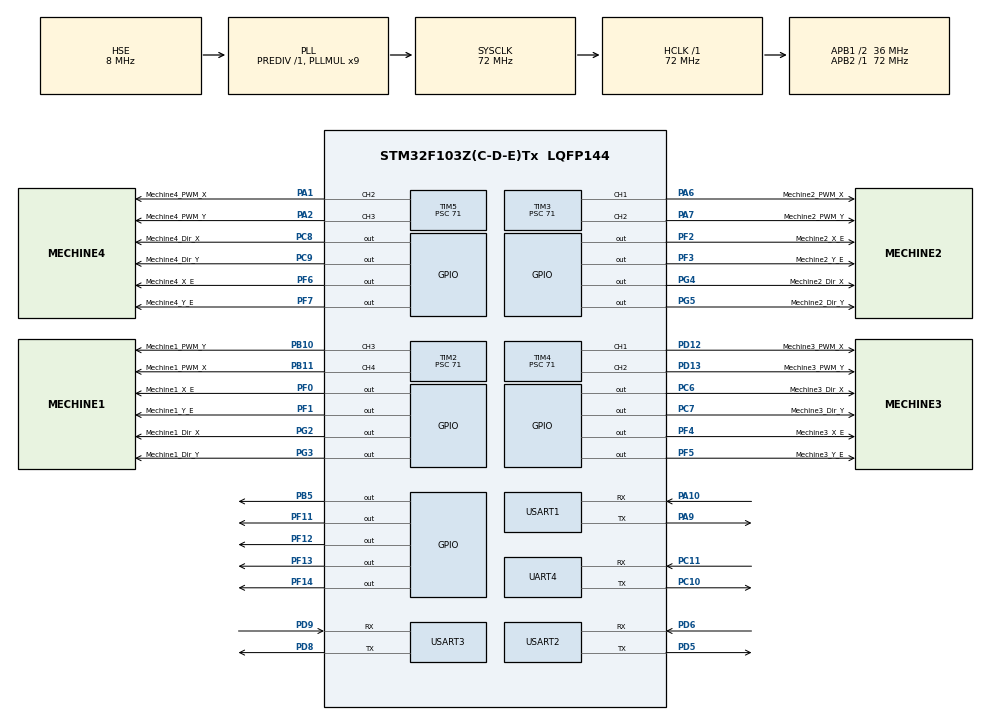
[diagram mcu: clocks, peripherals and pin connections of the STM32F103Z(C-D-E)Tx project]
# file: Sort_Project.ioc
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Mcu.Family=STM32F1
Mcu.Name=STM32F103Z(C-D-E)Tx
Mcu.Package=LQFP144
NVIC.PriorityGroup=NVIC_PRIORITYGROUP_4
NVIC.TIM2_IRQn=true\:0\:0\:false\:false\:true\:true\:true\:true
NVIC.TIM3_IRQn=true\:0\:0\:false\:false\:true\:true\:true\:true
NVIC.TIM4_IRQn=true\:0\:0\:false\:false\:true\:true\:true\:true
NVIC.TIM5_IRQn=true\:0\:0\:false\:false\:true\:true\:true\:true
NVIC.USART1_IRQn=true\:0\:0\:false\:false\:true\:true\:true\:true
NVIC.USART3_IRQn=true\:0\:0\:false\:false\:true\:true\:true\:true
OSC_IN.Mode=HSE-External-Oscillator
OSC_IN.Signal=RCC_OSC_IN
OSC_OUT.Mode=HSE-External-Oscillator
OSC_OUT.Signal=RCC_OSC_OUT
PA1.GPIO_Label=Mechine4_PWM_X
PA1.Signal=S_TIM5_CH2
PA10.Mode=Asynchronous
PA10.Signal=USART1_RX
PA13.Mode=Serial_Wire
PA13.Signal=SYS_JTMS-SWDIO
PA14.Mode=Serial_Wire
PA14.Signal=SYS_JTCK-SWCLK
PA2.GPIO_Label=Mechine4_PWM_Y
PA2.Signal=S_TIM5_CH3
PA6.GPIO_Label=Mechine2_PWM_X
PA6.Signal=S_TIM3_CH1
PA7.GPIO_Label=Mechine2_PWM_Y
PA7.Signal=S_TIM3_CH2
PA9.Mode=Asynchronous
PA9.Signal=USART1_TX
PB10.GPIO_Label=Mechine1_PWM_Y
PB10.Signal=S_TIM2_CH3
PB11.GPIO_Label=Mechine1_PWM_X
PB11.Signal=S_TIM2_CH4
PB5.Signal=GPIO_Output
PC10.Mode=Asynchronous
PC10.Signal=UART4_TX
PC11.Mode=Asynchronous
PC11.Signal=UART4_RX
PC13-TAMPER-RTC.Signal=RTC_TAMPER
PC14-OSC32_IN.Signal=RCC_OSC32_IN
PC15-OSC32_OUT.Signal=RCC_OSC32_OUT
PC6.GPIO_Label=Mechine3_Dir_X
PC6.Signal=GPIO_Output
PC7.GPIO_Label=Mechine3_Dir_Y
PC7.Signal=GPIO_Output
PC8.GPIO_Label=Mechine4_Dir_X
PC8.GPIO_PuPd=GPIO_NOPULL
PC8.Signal=GPIO_Output
PC9.GPIO_Label=Mechine4_Dir_Y
PC9.Signal=GPIO_Output
PD12.GPIO_Label=Mechine3_PWM_X
PD12.Signal=S_TIM4_CH1
PD13.GPIO_Label=Mechine3_PWM_Y
PD13.Signal=S_TIM4_CH2
PD5.Mode=Asynchronous
PD5.Signal=USART2_TX
PD6.Mode=Asynchronous
PD6.Signal=USART2_RX
PD8.Mode=Asynchronous
PD8.Signal=USART3_TX
PD9.Mode=Asynchronous
PD9.Signal=USART3_RX
PF0.GPIO_Label=Mechine1_X_E
PF0.Signal=GPIO_Output
PF1.GPIO_Label=Mechine1_Y_E
PF1.Signal=GPIO_Output
PF11.Signal=GPIO_Output
PF12.Signal=GPIO_Output
PF13.Signal=GPIO_Output
PF14.Signal=GPIO_Output
PF2.GPIO_Label=Mechine2_X_E
PF2.Signal=GPIO_Output
PF3.GPIO_Label=Mechine2_Y_E
PF3.Signal=GPIO_Output
PF4.GPIO_Label=Mechine3_X_E
PF4.Signal=GPIO_Output
PF5.GPIO_Label=Mechine3_Y_E
PF5.Signal=GPIO_Output
PF6.GPIO_Label=Mechine4_X_E
PF6.Signal=GPIO_Output
PF7.GPIO_Label=Mechine4_Y_E
PF7.Signal=GPIO_Output
PG2.GPIO_Label=Mechine1_Dir_X
PG2.Signal=GPIO_Output
PG3.GPIO_Label=Mechine1_Dir_Y
PG3.Signal=GPIO_Output
PG4.GPIO_Label=Mechine2_Dir_X
PG4.Signal=GPIO_Output
PG5.GPIO_Label=Mechine2_Dir_Y
PG5.Signal=GPIO_Output
ProjectManager.HeapSize=0x200
ProjectManager.StackSize=0x400
ProjectManager.TargetToolchain=Makefile
RCC.AHBFreq_Value=72000000
RCC.APB1CLKDivider=RCC_HCLK_DIV2
RCC.APB1Freq_Value=36000000
RCC.APB1TimFreq_Value=72000000
RCC.APB2Freq_Value=72000000
RCC.APB2TimFreq_Value=72000000
RCC.HCLKFreq_Value=72000000
RCC.PLLMUL=RCC_PLL_MUL9
RCC.PLLSourceVirtual=RCC_PLLSOURCE_HSE
RCC.SYSCLKFreq_VALUE=72000000
RCC.SYSCLKSource=RCC_SYSCLKSOURCE_PLLCLK
RCC.USBFreq_Value=72000000
SH.S_TIM2_CH3.0=TIM2_CH3,PWM Generation3 CH3
SH.S_TIM2_CH4.0=TIM2_CH4,PWM Generation4 CH4
SH.S_TIM3_CH1.0=TIM3_CH1,PWM Generation1 CH1
SH.S_TIM3_CH2.0=TIM3_CH2,PWM Generation2 CH2
SH.S_TIM4_CH1.0=TIM4_CH1,PWM Generation1 CH1
SH.S_TIM4_CH2.0=TIM4_CH2,PWM Generation2 CH2
SH.S_TIM5_CH2.0=TIM5_CH2,PWM Generation2 CH2
SH.S_TIM5_CH3.0=TIM5_CH3,PWM Generation3 CH3
TIM2.Channel-PWM\ Generation3\ CH3=TIM_CHANNEL_3
TIM2.Channel-PWM\ Generation4\ CH4=TIM_CHANNEL_4
TIM2.Period=499
TIM2.Prescaler=71
TIM2.Pulse-PWM\ Generation3\ CH3=250
TIM2.Pulse-PWM\ Generation4\ CH4=250
TIM3.Channel-PWM\ Generation1\ CH1=TIM_CHANNEL_1
TIM3.Channel-PWM\ Generation2\ CH2=TIM_CHANNEL_2
TIM3.Period=499
TIM3.Prescaler=71
TIM3.Pulse-PWM\ Generation1\ CH1=250
TIM3.Pulse-PWM\ Generation2\ CH2=250
TIM4.Channel-PWM\ Generation1\ CH1=TIM_CHANNEL_1
TIM4.Channel-PWM\ Generation2\ CH2=TIM_CHANNEL_2
TIM4.Period=499
TIM4.Prescaler=71
TIM4.Pulse-PWM\ Generation1\ CH1=250
TIM4.Pulse-PWM\ Generation2\ CH2=250
TIM5.Channel-PWM\ Generation2\ CH2=TIM_CHANNEL_2
TIM5.Channel-PWM\ Generation3\ CH3=TIM_CHANNEL_3
TIM5.Period=499
TIM5.Prescaler=71
TIM5.Pulse-PWM\ Generation2\ CH2=250
TIM5.Pulse-PWM\ Generation3\ CH3=250
UART4.VirtualMode=Asynchronous
USART1.VirtualMode=VM_ASYNC
USART2.VirtualMode=VM_ASYNC
USART3.VirtualMode=VM_ASYNC
VP_TIM2_VS_ClockSourceINT.Mode=Internal
VP_TIM3_VS_ClockSourceINT.Mode=Internal
VP_TIM4_VS_ClockSourceINT.Mode=Internal
VP_TIM5_VS_ClockSourceINT.Mode=Internal
board=custom

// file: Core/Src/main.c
/* USER CODE BEGIN Header */
/**
  ******************************************************************************
  * @file           : main.c
  * @brief          : Main program body
  ******************************************************************************
  * @attention
  *
  * Copyright (c) 2023 STMicroelectronics.
  * All rights reserved.
  *
  * This software is licensed under terms that can be found in the LICENSE file
  * in the root directory of this software component.
  * If no LICENSE file comes with this software, it is provided AS-IS.
  *
  ******************************************************************************
  */
/* USER CODE END Header */
#include "main.h"
#include "tim.h"
#include "usart.h"
#include "gpio.h"

/* USER CODE BEGIN Includes */
#include "stdio.h"
#include "stdlib.h"
/* USER CODE END Includes */

/* USER CODE BEGIN PV */
typedef struct Step_Config
{
  //uint16_t Shippingspace;//仓位
  //uint16_t Shippingspace;//哪一个步进电机
  uint32_t X_PWM_Count;
  uint32_t Y_PWM_Count;
  uint32_t Now_PositionX;
  uint32_t Now_PositionY;
  uint32_t Last_PositionX;
  uint32_t Last_PositionY;
  int deltaPositionx;
  int deltaPositiony;
  int PWM_X_DirFlag;//电机正反
  int PWM_Y_DirFlag;
}Step_Config1;
Step_Config1 space1;
Step_Config1 space2;
Step_Config1 space3;
Step_Config1 space4;
/*Recive 前三个字符是机器序列号小仓位,后三位是X坐标然后是Y坐标,最后一个字符验证接受结束*/
uint8_t RxBuffer[3];

int Shippingspace;
int FineFraction = 32;
//细分数 步进电机驱动设置
/*PWM_Start_flag[0]每一个大仓位中的四个仓位的哪一个*/
/*PWM_Start_flag[1]抓药启动标志*/
uint8_t PWM_Start_flag[2];
int CircleCount1X_Count = 0;//步进电机转的圈数
int CircleCount1Y_Count = 0;
int CircleCount2X_Count = 0;//步进电机转的圈数
int CircleCount2Y_Count = 0;
int CircleCount3X_Count = 0;//步进电机转的圈数
int CircleCount3Y_Count = 0;
int CircleCount4X_Count = 0;//步进电机转的圈数
int CircleCount4Y_Count = 0;
int X1_Flag = 0;
int Y1_Flag = 0;
int X2_Flag = 0;
int Y2_Flag = 0;
int X3_Flag = 0;
int Y3_Flag = 0;
int X4_Flag = 0;
int Y4_Flag = 0;
char Error[] ="Messageerror";
/* USER CODE END PV */

void SystemClock_Config(void);

int main(void)
{

  /* MCU Configuration--------------------------------------------------------*/

  /* Reset of all peripherals, Initializes the Flash interface and the Systick. */
  HAL_Init();

  /* Configure the system clock */
  SystemClock_Config();

  /* Initialize all configured peripherals */
  MX_GPIO_Init();
  MX_TIM3_Init();
  MX_TIM4_Init();
  MX_TIM5_Init();
  MX_USART3_UART_Init();
  MX_USART1_UART_Init();
  MX_TIM2_Init();
  MX_UART4_Init();
  MX_USART2_UART_Init();
  /* USER CODE BEGIN 2 */
  space1.PWM_X_DirFlag = 0;
  space1.PWM_Y_DirFlag = 0;
  space1.Last_PositionX=0;
  space1.Last_PositionY=0;
  space1.Now_PositionX = 0;
  space1.Now_PositionY = 0;
  space1.deltaPositionx = 0;
  space1.deltaPositiony = 0;
  space1.X_PWM_Count = 0;
  space1.Y_PWM_Count = 0;

  space2.Last_PositionX=0;
  space2.Last_PositionY=0;
  space2.PWM_X_DirFlag = 0;
  space2.PWM_Y_DirFlag = 0;
  space2.deltaPositionx = 0;
  space2.deltaPositiony = 0;
  space2.X_PWM_Count = 0;
  space2.Y_PWM_Count = 0;

  space3.Last_PositionX=0;
  space3.Last_PositionY=0;
  space3.PWM_X_DirFlag = 0;
  space3.PWM_Y_DirFlag = 0;
  space3.deltaPositionx = 0;
  space3.deltaPositiony = 0;
  space3.X_PWM_Count = 0;
  space3.Y_PWM_Count = 0;

  space4.Last_PositionX=0;
  space4.Last_PositionY=0;
  space4.PWM_X_DirFlag = 0;
  space4.PWM_Y_DirFlag = 0;
  space4.deltaPositionx = 0;
  space4.deltaPositiony = 0;
  space4.X_PWM_Count = 0;
  space4.Y_PWM_Count = 0;
  /* USER CODE END 2 */

  /* Infinite loop */
  while (1)
  {

    /* USER CODE BEGIN 3 */
    HAL_UART_Receive_IT(&huart3,RxBuffer,3);
    HAL_UART_Receive_IT(&huart1,PWM_Start_flag,2);
  }
  return 0;
  /* USER CODE END 3 */
}

void SystemClock_Config(void)
{
  RCC_OscInitTypeDef RCC_OscInitStruct = {0};
  RCC_ClkInitTypeDef RCC_ClkInitStruct = {0};

  /** Initializes the RCC Oscillators according to the specified parameters
  * in the RCC_OscInitTypeDef structure.
  */
  RCC_OscInitStruct.OscillatorType = RCC_OSCILLATORTYPE_HSE;
  RCC_OscInitStruct.HSEState = RCC_HSE_ON;
  RCC_OscInitStruct.HSEPredivValue = RCC_HSE_PREDIV_DIV1;
  RCC_OscInitStruct.HSIState = RCC_HSI_ON;
  RCC_OscInitStruct.PLL.PLLState = RCC_PLL_ON;
  RCC_OscInitStruct.PLL.PLLSource = RCC_PLLSOURCE_HSE;
  RCC_OscInitStruct.PLL.PLLMUL = RCC_PLL_MUL9;
  if (HAL_RCC_OscConfig(&RCC_OscInitStruct) != HAL_OK)
  {
    Error_Handler();
  }

  /** Initializes the CPU, AHB and APB buses clocks
  */
  RCC_ClkInitStruct.ClockType = RCC_CLOCKTYPE_HCLK|RCC_CLOCKTYPE_SYSCLK
                              |RCC_CLOCKTYPE_PCLK1|RCC_CLOCKTYPE_PCLK2;
  RCC_ClkInitStruct.SYSCLKSource = RCC_SYSCLKSOURCE_PLLCLK;
  RCC_ClkInitStruct.AHBCLKDivider = RCC_SYSCLK_DIV1;
  RCC_ClkInitStruct.APB1CLKDivider = RCC_HCLK_DIV2;
  RCC_ClkInitStruct.APB2CLKDivider = RCC_HCLK_DIV1;

  if (HAL_RCC_ClockConfig(&RCC_ClkInitStruct, FLASH_LATENCY_2) != HAL_OK)
  {
    Error_Handler();
  }
}

/* USER CODE BEGIN 4 */
void HAL_UART_RxCpltCallback(UART_HandleTypeDef *huart){
  uint16_t Now_PositonX=0;
  uint16_t Now_PositonY=0;
  /*接受香橙派开发板的位置信息
  * Shippingspace 四个仓位的那一个
  */
  if (huart==&huart3)
  {
    Shippingspace = RxBuffer[0];
    Now_PositonX = RxBuffer[1];
    Now_PositonY = RxBuffer[2];
    if (Now_PositonX>500)
    {
      Now_PositonX =500;
    }
    if (Now_PositonX<0)
    {
      Now_PositonX = 0;
    }
    if (Now_PositonY>500)
    {
      Now_PositonY =500;
    }
    if (Now_PositonY<0)
    {
      Now_PositonY = 0;
    }
    switch (Shippingspace)
    {
    case 1:
      space1.Now_PositionX = Now_PositonX;
      space1.Now_PositionY = Now_PositonY;
      space1.deltaPositionx = space1.Now_PositionX - space1.Last_PositionX;
      space1.deltaPositiony = space1.Now_PositionY - space1.Last_PositionY;
      if (space1.deltaPositionx > 0 )
      {
        space1.PWM_X_DirFlag = 1;
        HAL_GPIO_WritePin(Mechine1_Dir_X_GPIO_Port,Mechine1_Dir_X_Pin,GPIO_PIN_SET);
      }
      else
      {
        space1.PWM_X_DirFlag = 0;
        HAL_GPIO_WritePin(Mechine1_Dir_X_GPIO_Port,Mechine1_Dir_X_Pin,GPIO_PIN_RESET);
      }
      if (space1.deltaPositiony > 0 )
      {
        space1.PWM_Y_DirFlag = 1;
        HAL_GPIO_WritePin(Mechine1_Dir_Y_GPIO_Port,Mechine1_Dir_Y_Pin,GPIO_PIN_SET);
      }
      else
      {
        space1.PWM_Y_DirFlag = 0;
        HAL_GPIO_WritePin(Mechine1_Dir_Y_GPIO_Port,Mechine1_Dir_Y_Pin,GPIO_PIN_RESET);
      }
      break;
    case 2:
      space2.Now_PositionX = Now_PositonX;
      space2.Now_PositionY = Now_PositonY;
      space2.deltaPositionx = space2.Now_PositionX - space2.Last_PositionX;
      space2.deltaPositiony = space2.Now_PositionY - space2.Last_PositionY;
      if (space2.deltaPositionx > 0 )
      {
        space2.PWM_X_DirFlag = 1;
        HAL_GPIO_WritePin(Mechine2_Dir_X_GPIO_Port,Mechine2_Dir_X_Pin,GPIO_PIN_SET);
      }
      else
      {
        space2.PWM_X_DirFlag = 0;
        HAL_GPIO_WritePin(Mechine2_Dir_X_GPIO_Port,Mechine2_Dir_X_Pin,GPIO_PIN_RESET);
      }
      if (space2.deltaPositiony > 0 )
      {
        space2.PWM_Y_DirFlag = 1;
        HAL_GPIO_WritePin(Mechine2_Dir_Y_GPIO_Port,Mechine2_Dir_Y_Pin,GPIO_PIN_SET);
      }
      else
      {
        space2.PWM_Y_DirFlag = 0;
        HAL_GPIO_WritePin(Mechine2_Dir_Y_GPIO_Port,Mechine2_Dir_Y_Pin,GPIO_PIN_RESET);
      }
      break;
    case 3:
      space3.Now_PositionX = Now_PositonX;
      space3.Now_PositionY = Now_PositonY;
      space3.deltaPositionx = space3.Now_PositionX - space3.Last_PositionX;
      space3.deltaPositiony = space3.Now_PositionY - space3.Last_PositionY;
      if (space3.deltaPositionx > 0 )
      {
        space3.PWM_X_DirFlag = 1;
        HAL_GPIO_WritePin(Mechine3_Dir_X_GPIO_Port,Mechine3_Dir_X_Pin,GPIO_PIN_SET);
      }
      else
      {
        space3.PWM_X_DirFlag = 0;
        HAL_GPIO_WritePin(Mechine3_Dir_X_GPIO_Port,Mechine3_Dir_X_Pin,GPIO_PIN_RESET);
      }
      if (space3.deltaPositiony > 0 )
      {
        space3.PWM_Y_DirFlag = 1;
        HAL_GPIO_WritePin(Mechine3_Dir_Y_GPIO_Port,Mechine3_Dir_Y_Pin,GPIO_PIN_SET);
      }
      else
      {
        space3.PWM_Y_DirFlag = 0;
        HAL_GPIO_WritePin(Mechine3_Dir_Y_GPIO_Port,Mechine3_Dir_Y_Pin,GPIO_PIN_RESET);
      }
      break;
    case 4:
      space4.Now_PositionX = Now_PositonX;
      space4.Now_PositionY = Now_PositonY;
      space4.deltaPositionx = space4.Now_PositionX - space4.Last_PositionX;
      space4.deltaPositiony = space4.Now_PositionY - space4.Last_PositionY;
      if (space4.deltaPositionx > 0 )
      {
        space4.PWM_X_DirFlag = 1;
        HAL_GPIO_WritePin(Mechine4_Dir_X_GPIO_Port,Mechine4_Dir_X_Pin,GPIO_PIN_SET);
      }
      else
      {
        space4.PWM_X_DirFlag = 0;
        HAL_GPIO_WritePin(Mechine4_Dir_X_GPIO_Port,Mechine4_Dir_X_Pin,GPIO_PIN_RESET);
      }

      if (space4.deltaPositiony > 0 )
      {
        space4.PWM_Y_DirFlag = 1;
        HAL_GPIO_WritePin(Mechine4_Dir_Y_GPIO_Port,Mechine4_Dir_Y_Pin,GPIO_PIN_SET);
      }
      else
      {
        space4.PWM_Y_DirFlag = 0;
        HAL_GPIO_WritePin(Mechine3_Dir_Y_GPIO_Port,Mechine3_Dir_Y_Pin,GPIO_PIN_RESET);
      }
      break;
    default:
      break;
    }

  }
  /*接受主机传送启动命令
  * PWM_Start_flag[0] 哪一台主机;
  * PWM_Start_flag[1]运动标志位
  */
  if (huart==&huart1)
  {
    int Whichdevice;
    int Startflag = 0;
    Whichdevice = PWM_Start_flag[0];
    Startflag = PWM_Start_flag[1];
    if (Whichdevice == 0X31)
    {
     if (Startflag == 0X31)
     {
      space1.X_PWM_Count = (int)(space1.deltaPositionx/50 * FineFraction);
      space1.Y_PWM_Count = (int)(space1.deltaPositiony/50 * FineFraction);
      space1.X_PWM_Count =6400;
      HAL_GPIO_WritePin(Mechine1_Dir_X_GPIO_Port,Mechine1_Dir_X_Pin,GPIO_PIN_SET);
      X1_Flag =1;
      Y1_Flag =1;
      HAL_TIM_PWM_Start_IT(&htim2,TIM_CHANNEL_3);
      HAL_TIM_PWM_Start_IT(&htim2,TIM_CHANNEL_4);
     }
    }
    else if (Whichdevice == 0X32)
    {
      space2.X_PWM_Count = (int)(space2.deltaPositionx/50 * FineFraction);
      space2.Y_PWM_Count = (int)(space2.deltaPositiony/50 * FineFraction);
      X2_Flag =1;
      Y2_Flag =1;
      HAL_TIM_PWM_Start_IT(&htim3,TIM_CHANNEL_1);
      HAL_TIM_PWM_Start_IT(&htim3,TIM_CHANNEL_2);
    }
    else if (Whichdevice == 0X33)
    {
      space3.X_PWM_Count = (int)(space3.deltaPositionx/50 * FineFraction);
      space3.Y_PWM_Count = (int)(space3.deltaPositiony/50 * FineFraction);
      X3_Flag =1;
      Y3_Flag =1;
      HAL_TIM_PWM_Start_IT(&htim4,TIM_CHANNEL_1);
      HAL_TIM_PWM_Start_IT(&htim4,TIM_CHANNEL_2);
    }
    else if (Whichdevice == 0X34)
    {
      space4.X_PWM_Count = (int)(space4.deltaPositionx/50 * FineFraction);
      space4.Y_PWM_Count = (int)(space4.deltaPositiony/50 * FineFraction);
      X4_Flag = 1;
      Y4_Flag =1;
      HAL_TIM_PWM_Start_IT(&htim5,TIM_CHANNEL_1);
      HAL_TIM_PWM_Start_IT(&htim5,TIM_CHANNEL_2);
    }
    else
    HAL_UART_Transmit(&huart1,(uint8_t*)Error,sizeof(Error),100);
  }
  HAL_UART_Receive_IT(&huart3,RxBuffer,3);
  HAL_UART_Receive_IT(&huart1,PWM_Start_flag,2);
}

void HAL_TIM_PWM_PulseFinishedCallback(TIM_HandleTypeDef *htim)
{
  if (htim == &htim2)
  {
    if (X1_Flag == 1)
    {
      CircleCount1X_Count++;
      HAL_UART_Transmit(&huart1,(uint8_t*)&X1_Flag,1,100);
    }
    if (Y1_Flag == 1 )
    {
      CircleCount1Y_Count++;
    }
    if (space1.X_PWM_Count == CircleCount1X_Count )
    {
      HAL_TIM_PWM_Stop(&htim2,TIM_CHANNEL_4);
      CircleCount1X_Count = 0;
      X1_Flag = 0;
    }
    if (space1.Y_PWM_Count == CircleCount1Y_Count)
    {
      HAL_TIM_PWM_Stop(&htim2,TIM_CHANNEL_3);
      CircleCount1Y_Count = 0;
      Y1_Flag = 0;
    }
  }
  if (htim == &htim3)
  {
    if (X2_Flag == 1)
    {
      CircleCount2X_Count++;

    }
    if (Y2_Flag == 1 )
    {
      CircleCount2Y_Count++;
    }
    if (space2.X_PWM_Count == CircleCount2X_Count )
    {
      HAL_TIM_PWM_Stop(&htim3,TIM_CHANNEL_1);
      CircleCount2X_Count = 0;
      X2_Flag = 0;
    }
    if (space2.Y_PWM_Count == CircleCount2Y_Count)
    {
      HAL_TIM_PWM_Stop(&htim3,TIM_CHANNEL_2);
      CircleCount2Y_Count = 0;
      Y2_Flag = 0;
    }
  if (htim == &htim4)
  {
    if (X3_Flag == 1)
    {
      CircleCount3X_Count++;
    }
    if (Y3_Flag == 1 )
    {
      CircleCount3Y_Count++;
    }
    if (space3.X_PWM_Count == CircleCount3X_Count )
    {
      HAL_TIM_PWM_Stop(&htim4,TIM_CHANNEL_1);
      CircleCount3X_Count = 0;
      X3_Flag = 0;
    }
    if (space3.Y_PWM_Count == CircleCount3Y_Count)
    {
      HAL_TIM_PWM_Stop(&htim4,TIM_CHANNEL_2);
      CircleCount3Y_Count = 0;
      Y3_Flag = 0;
    }

  }
  if (htim == &htim5)
  {
    if (X4_Flag == 1)
    {
      CircleCount4X_Count++;
    }
    if (Y4_Flag == 1 )
    {
      CircleCount4Y_Count++;
    }
    if (space4.X_PWM_Count == CircleCount4X_Count )
    {
      HAL_TIM_PWM_Stop(&htim5,TIM_CHANNEL_2);
      X4_Flag = 0;
      CircleCount4X_Count = 0;
    }
    if (space4.Y_PWM_Count == CircleCount3Y_Count)
    {
      HAL_TIM_PWM_Stop(&htim5,TIM_CHANNEL_3);
      Y4_Flag = 0;
      CircleCount4Y_Count = 0;
    }

  }
}
}
/* USER CODE END 4 */

void Error_Handler(void)
{
  __disable_irq();
  while (1)
  {
  }
}
